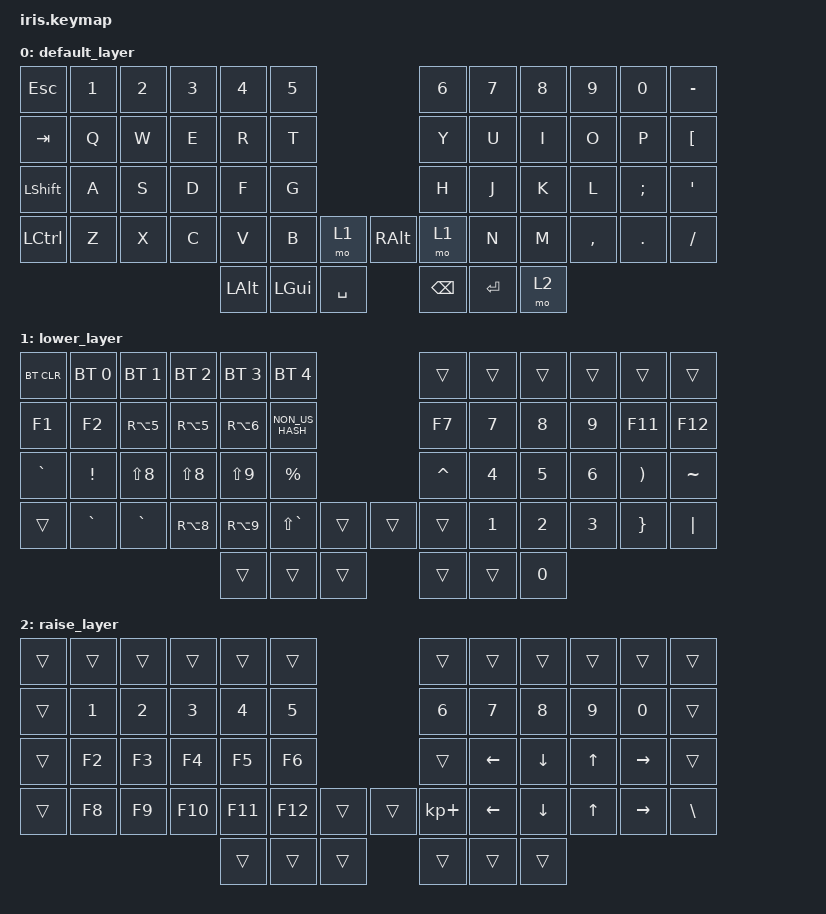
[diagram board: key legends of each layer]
/*
 * Copyright (c) 2020 The ZMK Contributors
 *
 * SPDX-License-Identifier: MIT
 */

#include <behaviors.dtsi>
#include <dt-bindings/zmk/keys.h>
#include <dt-bindings/zmk/bt.h>

/ {
	keymap {
		compatible = "zmk,keymap";

		default_layer {
// ------------------------------------------------------------------------------------------------------------
// |  ESC  |  1  |  2  |  3   |  4   |  5   |                   |  6   |  7    |  8    |  9   |   0   |   `   |
// |  TAB  |  Q  |  W  |  E   |  R   |  T   |                   |  Y   |  U    |  I    |  O   |   P   |   -   |
// |  CTRL |  A  |  S  |  D   |  F   |  G   |                   |  H   |  J    |  K    |  L   |   ;   |   '   |
// | SHIFT |  Z  |  X  |  C   |  V   |  B   |   "["  |  |  ALT  |  N   |  M    |  ,    |  .   |   /   | SHIFT |
//                     		  | GUI  | LOWER|  SPACE |  | BSPC | ENTER|  RAISE  |
			bindings = <
&kp ESC   &kp N1 &kp N2 &kp N3 &kp N4   &kp N5                       &kp N6 &kp N7 &kp N8    &kp N9  &kp N0   &kp MINUS
&kp TAB   &kp Q  &kp W  &kp E  &kp R    &kp T                        &kp Y  &kp U  &kp I     &kp O   &kp P    &kp LBKT
&kp LSHFT &kp A  &kp S  &kp D  &kp F    &kp G                        &kp H  &kp J  &kp K     &kp L   &kp SEMI &kp SQT
&kp LCTRL &kp Z  &kp X  &kp C  &kp V    &kp B    &mo 1  &kp RALT  &mo 1  &kp N  &kp M     &kp COMMA  &kp DOT &kp FSLH 
                   			   &kp LALT &kp LGUI &kp SPACE &kp BSPC  &kp RET &mo 2
			>;
		};

		lower_layer {
// ------------------------------------------------------------------------------------------------------------
// | BTCLR | BT1 | BT2 |  BT3 |  BT4 |  BT5 |                   |      |       |       |      |       |       |
// |  F1   |  F2 |  F3 |  F4  |  F5  |  F6  |                   |  F7  |  F8   |  F9   |  F10 |  F11  |  F12  |
// |   `   |  !  |  @  |  #   |  $   |  %   |                   |  ^   |  &    |  *    |  (   |   )   |   ~   |
// |       |     |     |      |      |      |        |  |       |      |  _    |  +    |  {   |   }   |  "|"  |
//                            |      |      |        |  |       |      |       |
			bindings = <
&bt BT_CLR &bt BT_SEL 0 &bt BT_SEL 1 &bt BT_SEL 2 &bt BT_SEL 3  &bt BT_SEL 4                &trans    &trans    &trans   &trans   &trans    &trans
&kp F1     &kp F2       &kp RA(N5)   &kp RA(N5)   &kp RA(N6)    &kp NON_US_HASH             &kp F7    &kp N7    &kp N8   &kp N9   &kp F11   &kp F12
&kp GRAVE  &kp EXCL     &kp LS(N8)   &kp LS(N8)   &kp LS(N9)    &kp PRCNT                   &kp CARET &kp N4  	&kp N5 	 &kp N6   &kp RPAR  &kp TILDE
&trans     &kp GRAVE    &kp GRAVE	 &kp RA(N8)   &kp RA(N9) 	&kp LS(GRAVE)    &trans   &trans   &trans    &kp N1 	&kp N2   &kp N3   &kp RBRC  &kp PIPE
                   					              &trans        &trans    &trans   &trans   &trans    &kp N0
			>;
		};

		raise_layer {
// ------------------------------------------------------------------------------------------------------------
// |       |     |     |      |      |      |                   |      |       |       |      |       |       |
// |   `   |  1  |  2  |  3   |  4   |  5   |                   |  6   |   7   |   8   |  9   |   0   |       |
// |   F1  |  F2 |  F3 |  F4  |  F5  |  F6  |                   |      |   <-  |   ^   |  v   |  ->   |       |
// |   F7  |  F8 |  F9 |  F10 |  F11 |  F12 |        |  |       |  +   |   -   |   =   |  [   |   ]   |   \   |
//                            |      |      |        |  |       |      |       |
			bindings = <
&trans    &trans &trans &trans  &trans  &trans                       &trans      &trans    &trans    &trans   &trans    &trans
&trans	  &kp N1 &kp N2 &kp N3  &kp N4  &kp N5                       &kp N6      &kp N7    &kp N8    &kp N9   &kp N0    &trans
&trans    &kp F2 &kp F3 &kp F4  &kp F5  &kp F6                       &trans      &kp LEFT  &kp DOWN  &kp UP   &kp RIGHT &trans
&trans    &kp F8 &kp F9 &kp F10 &kp F11 &kp F12   &trans   &trans    &kp KP_PLUS &kp LEFT  &kp DOWN  &kp UP   &kp RIGHT &kp BSLH
                   				&trans  &trans    &trans   &trans    &trans      &trans
			>;
		};
	};
};
